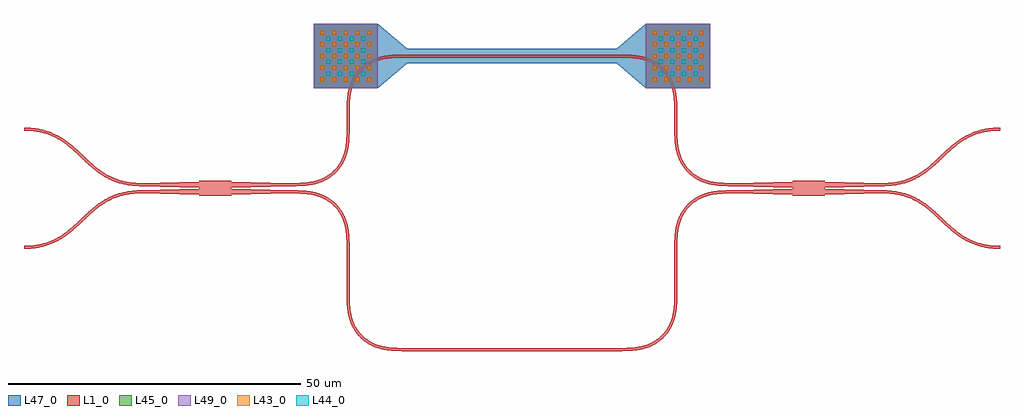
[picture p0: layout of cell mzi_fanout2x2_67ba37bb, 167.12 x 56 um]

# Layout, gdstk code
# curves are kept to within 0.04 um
from math import pi, radians
import gdstk
lib = gdstk.Library(unit=1e-6, precision=1e-09)
def R(c, l, rs):  # rectangles x0, y0, x1, y1
    for r in rs: c.add(gdstk.rectangle(r[:2], r[2:], *l))
def P(c, l, *ps):  # polygons
    for p in ps: c.add(gdstk.Polygon(p, *l))
L1_0 = (1, 0)
L43_0 = (43, 0)
L44_0 = (44, 0)
L45_0 = (45, 0)
L47_0 = (47, 0)
L49_0 = (49, 0)

mmi2x2 = lib.new_cell('mmi2x2')
R(mmi2x2, L1_0, [(0,-1.25,5.5,1.25)])
P(mmi2x2, L1_0, [(-10,-0.375),(0,-0.125),(0,-1.125),(-10,-0.875)],
  [(-10,0.875),(0,1.125),(0,0.125),(-10,0.375)],
  [(15.5,0.375),(5.5,0.125),(5.5,1.125),(15.5,0.875)],
  [(15.5,-0.875),(5.5,-1.125),(5.5,-0.125),(15.5,-0.375)])

bend_euler = lib.new_cell('bend_euler')
P(bend_euler, L1_0, [(0,-0.25),(2.795,-0.158),(3.776,-0.023),(4.746,0.203),(5.688,0.543),(6.455,0.934),(7.285,1.5),(7.928,2.072),(8.5,2.715),(9.066,3.545),(9.457,4.312),(9.797,5.254),(10.023,6.224),(10.158,7.205),(10.25,10),(9.75,10),(9.731,8.345),(9.647,7.119),(9.48,6.048),(9.194,5.01),(8.887,4.269),(8.495,3.569),(7.575,2.425),(6.431,1.505),(5.731,1.113),(4.99,0.806),(3.952,0.52),(2.881,0.353),(1.655,0.269),(0,0.25)])

straight_length7p0 = lib.new_cell('straight_length7p0')
R(straight_length7p0, L1_0, [(0,-0.25,7,0.25)])

straight_length0p1 = lib.new_cell('straight_length0p1')
R(straight_length0p1, L1_0, [(0,-0.25,0.1,0.25)])

straight_length2p0 = lib.new_cell('straight_length2p0')
R(straight_length2p0, L1_0, [(0,-0.25,2,0.25)])

straight_add_pinsfalse_l = lib.new_cell('straight_add_pinsFalse_length0p1')
R(straight_add_pinsfalse_l, L1_0, [(0,-0.25,0.1,0.25)])

straight_6e0386c1 = lib.new_cell('straight_6e0386c1')
R(straight_6e0386c1, L1_0, [(0,-0.25,17.95,0.25)])
R(straight_6e0386c1, L47_0, [(0,-1.25,17.95,1.25)])

component_sequence_afa0a = lib.new_cell('component_sequence_afa0a7fe')
component_sequence_afa0a.add(gdstk.Reference(straight_add_pinsfalse_l, (0,0)))
component_sequence_afa0a.add(gdstk.Reference(straight_6e0386c1, (0.1,0)))
component_sequence_afa0a.add(gdstk.Reference(straight_6e0386c1, (18.05,0)))
component_sequence_afa0a.add(gdstk.Reference(straight_add_pinsfalse_l, (36,0)))

compass_d8224c77 = lib.new_cell('compass_d8224c77')
R(compass_d8224c77, L47_0, [(-5.5,-5.5,5.5,5.5)])

compass_layerm2_size11p0 = lib.new_cell('compass_layerM2_size11p0__11p0')
R(compass_layerm2_size11p0, L45_0, [(-5.5,-5.5,5.5,5.5)])

compass_layermtop_size11 = lib.new_cell('compass_layerMTOP_size11p0__11p0')
R(compass_layermtop_size11, L49_0, [(-5.5,-5.5,5.5,5.5)])

via_enclosure2_layervia1 = lib.new_cell('via_enclosure2_layerVIA1')
R(via_enclosure2_layervia1, L44_0, [(-0.35,-0.35,0.35,0.35)])

via_layervia2 = lib.new_cell('via_layerVIA2')
R(via_layervia2, L43_0, [(-0.35,-0.35,0.35,0.35)])

via_stack_64ed2af4 = lib.new_cell('via_stack_64ed2af4')
via_stack_64ed2af4.add(gdstk.Reference(compass_d8224c77, (0,0)))
via_stack_64ed2af4.add(gdstk.Reference(compass_layerm2_size11p0, (0,0)))
via_stack_64ed2af4.add(gdstk.Reference(compass_layermtop_size11, (0,0)))
r = gdstk.Reference(via_enclosure2_layervia1, (-3,-3)); r.repetition = gdstk.Repetition(4, 4, v1=(2,0), v2=(0,2)); via_stack_64ed2af4.add(r)
r = gdstk.Reference(via_layervia2, (-4,-4)); r.repetition = gdstk.Repetition(5, 5, v1=(2,0), v2=(0,2)); via_stack_64ed2af4.add(r)

taper_23f5216f = lib.new_cell('taper_23f5216f')
P(taper_23f5216f, L47_0, [(0,5.5),(5,1.25),(5,-1.25),(0,-5.5)])

straight_heater_metal_un = lib.new_cell('straight_heater_metal_undercut_7c702180')
straight_heater_metal_un.add(gdstk.Reference(component_sequence_afa0a, (0,0)))
straight_heater_metal_un.add(gdstk.Reference(via_stack_64ed2af4, (-10.4,0)))
straight_heater_metal_un.add(gdstk.Reference(via_stack_64ed2af4, (46.5,0)))
straight_heater_metal_un.add(gdstk.Reference(taper_23f5216f, (-4.9,0)))
straight_heater_metal_un.add(gdstk.Reference(taper_23f5216f, (41,0), rotation=pi))

bend_euler_40ab4dd3 = lib.new_cell('bend_euler_40ab4dd3')
P(bend_euler_40ab4dd3, L1_0, [(0,-0.25),(2.795,-0.158),(3.776,-0.023),(4.746,0.203),(5.688,0.543),(6.455,0.934),(7.285,1.5),(7.928,2.072),(8.5,2.715),(9.066,3.545),(9.457,4.312),(9.797,5.254),(10.023,6.224),(10.158,7.205),(10.25,10),(9.75,10),(9.731,8.345),(9.647,7.119),(9.48,6.048),(9.194,5.01),(8.887,4.269),(8.495,3.569),(7.575,2.425),(6.431,1.505),(5.731,1.113),(4.99,0.806),(3.952,0.52),(2.881,0.353),(1.655,0.269),(0,0.25)])

straight_e8b67d3c = lib.new_cell('straight_e8b67d3c')
R(straight_e8b67d3c, L1_0, [(0,-0.25,0.01,0.25)])

straight_299cef3a = lib.new_cell('straight_299cef3a')
R(straight_299cef3a, L1_0, [(0,-0.25,2,0.25)])

straight_840df451 = lib.new_cell('straight_840df451')
R(straight_840df451, L1_0, [(0,-0.25,36.01,0.25)])

straight_533918dc = lib.new_cell('straight_533918dc')
R(straight_533918dc, L1_0, [(0,-0.25,7,0.25)])

mzi_2e88f57c = lib.new_cell('mzi_2e88f57c')
mzi_2e88f57c.add(gdstk.Reference(mmi2x2, (0,0)))
mzi_2e88f57c.add(gdstk.Reference(mmi2x2, (107.12,0), rotation=pi, x_reflection=True))
mzi_2e88f57c.add(gdstk.Reference(bend_euler, (15.5,-0.625), x_reflection=True))
mzi_2e88f57c.add(gdstk.Reference(straight_length7p0, (25.5,-10.625), rotation=3*pi/2))
mzi_2e88f57c.add(gdstk.Reference(bend_euler, (25.5,-17.625), rotation=3*pi/2))
mzi_2e88f57c.add(gdstk.Reference(straight_length0p1, (35.5,-27.625)))
mzi_2e88f57c.add(gdstk.Reference(bend_euler, (15.5,0.625)))
mzi_2e88f57c.add(gdstk.Reference(straight_length2p0, (25.5,10.625), rotation=pi/2))
mzi_2e88f57c.add(gdstk.Reference(bend_euler, (35.5,22.625), rotation=pi))
mzi_2e88f57c.add(gdstk.Reference(straight_heater_metal_un, (35.5,22.625)))
mzi_2e88f57c.add(gdstk.Reference(bend_euler_40ab4dd3, (71.61,22.625), x_reflection=True))
mzi_2e88f57c.add(gdstk.Reference(bend_euler_40ab4dd3, (81.61,10.625), rotation=3*pi/2))
mzi_2e88f57c.add(gdstk.Reference(straight_e8b67d3c, (71.6,22.625)))
mzi_2e88f57c.add(gdstk.Reference(straight_299cef3a, (81.61,12.625), rotation=3*pi/2))
mzi_2e88f57c.add(gdstk.Reference(straight_e8b67d3c, (91.61,0.625)))
mzi_2e88f57c.add(gdstk.Reference(bend_euler_40ab4dd3, (71.61,-27.625)))
mzi_2e88f57c.add(gdstk.Reference(bend_euler_40ab4dd3, (81.61,-10.625), rotation=pi/2, x_reflection=True))
mzi_2e88f57c.add(gdstk.Reference(straight_840df451, (35.6,-27.625)))
mzi_2e88f57c.add(gdstk.Reference(straight_533918dc, (81.61,-17.625), rotation=pi/2))
mzi_2e88f57c.add(gdstk.Reference(straight_e8b67d3c, (91.61,-0.625)))

bezier_3be8b0b5 = lib.new_cell('bezier_3be8b0b5')
P(bezier_3be8b0b5, L1_0, [(0,-0.25),(1.452,-0.18),(2.771,0.021),(4.196,0.416),(5.472,0.953),(6.622,1.607),(7.838,2.481),(8.957,3.434),(11.996,6.236),(12.964,7.002),(13.825,7.584),(15.142,8.284),(16.63,8.819),(18.334,9.153),(20,9.25),(20,9.75),(18.548,9.68),(17.229,9.479),(15.804,9.084),(14.528,8.547),(13.378,7.893),(12.162,7.019),(11.043,6.066),(8.004,3.264),(7.036,2.498),(6.175,1.916),(4.858,1.216),(3.37,0.681),(1.666,0.347),(0,0.25)])

bend_s_7ce4e56f = lib.new_cell('bend_s_7ce4e56f')
bend_s_7ce4e56f.add(gdstk.Reference(bezier_3be8b0b5, (0,0)))

mzi_fanout2x2_67ba37bb = lib.new_cell('mzi_fanout2x2_67ba37bb')
mzi_fanout2x2_67ba37bb.add(gdstk.Reference(mzi_2e88f57c, (0,-0.125)))
mzi_fanout2x2_67ba37bb.add(gdstk.Reference(bend_s_7ce4e56f, (117.12,0.5)))
mzi_fanout2x2_67ba37bb.add(gdstk.Reference(bend_s_7ce4e56f, (117.12,-0.75), x_reflection=True))
mzi_fanout2x2_67ba37bb.add(gdstk.Reference(bend_s_7ce4e56f, (-10,0.5), rotation=pi, x_reflection=True))
mzi_fanout2x2_67ba37bb.add(gdstk.Reference(bend_s_7ce4e56f, (-10,-0.75), rotation=pi))

lib.write_gds('mzi_fanout2x2_67ba37bb.gds')
